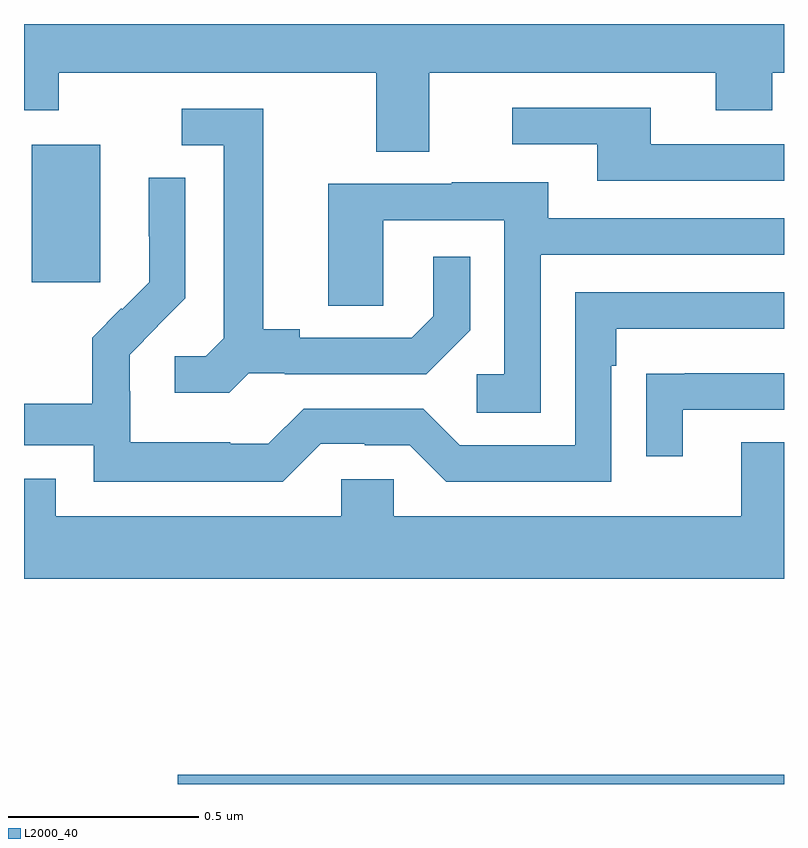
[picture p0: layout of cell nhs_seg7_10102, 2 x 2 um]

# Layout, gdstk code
import gdstk
lib = gdstk.Library(unit=1e-6, precision=1e-09)
def R(c, l, rs):  # rectangles x0, y0, x1, y1
    for r in rs: c.add(gdstk.rectangle(r[:2], r[2:], *l))
def P(c, l, *ps):  # polygons
    for p in ps: c.add(gdstk.Polygon(p, *l))
L2000_40 = (2000, 40)

nhs_seg7_10102 = lib.new_cell('nhs_seg7_10102')
R(nhs_seg7_10102, L2000_40, [(245.405,1076,247,1076.024), (245.021,1077.321,245.2,1077.682)])
P(nhs_seg7_10102, L2000_40, [(246.067,1077.872),(246.821,1077.872),(246.821,1077.773),(246.969,1077.773),(246.969,1077.872),(247,1077.872),(247,1078),(245,1078),(245,1077.773),(245.091,1077.773),(245.091,1077.872),(245.927,1077.872),(245.927,1077.664),(246.067,1077.664)],
  [(247,1077.684),(246.649,1077.684),(246.649,1077.78),(246.285,1077.78),(246.285,1077.684),(246.509,1077.684),(246.509,1077.588),(247,1077.588)],
  [(245.592,1077.081),(245.686,1077.081),(245.686,1077.078),(246.058,1077.078),(246.174,1077.194),(246.174,1077.388),(246.077,1077.388),(246.077,1077.231),(246.02,1077.174),(245.725,1077.174),(245.725,1077.197),(245.629,1077.197),(245.629,1077.777),(245.415,1077.777),(245.415,1077.681),(245.525,1077.681),(245.525,1077.173),(245.478,1077.126),(245.397,1077.126),(245.397,1077.029),(245.54,1077.029)],
  [(245.781,1076.895),(245.897,1076.895),(245.897,1076.892),(246.015,1076.892),(246.111,1076.796),(246.546,1076.796),(246.546,1077.101),(246.559,1077.101),(246.559,1077.198),(247,1077.198),(247,1077.294),(246.45,1077.294),(246.45,1076.892),(246.147,1076.892),(246.051,1076.988),(245.736,1076.988),(245.643,1076.895),(245.543,1076.895),(245.543,1076.899),(245.28,1076.899),(245.28,1077.033),(245.278,1077.033),(245.278,1077.13),(245.352,1077.204),(245.351,1077.205),(245.424,1077.278),(245.424,1077.596),(245.328,1077.596),(245.328,1077.442),(245.33,1077.442),(245.33,1077.32),(245.259,1077.249),(245.256,1077.252),(245.179,1077.175),(245.179,1077.001),(245,1077.001),(245,1076.892),(245.184,1076.892),(245.184,1076.795),(245.681,1076.795)],
  [(246.36,1077.393),(247,1077.393),(247,1077.489),(246.379,1077.489),(246.379,1077.583),(246.125,1077.583),(246.125,1077.579),(245.801,1077.579),(245.801,1077.259),(245.946,1077.259),(245.946,1077.483),(246.264,1077.483),(246.264,1077.078),(246.192,1077.078),(246.192,1076.977),(246.36,1076.977)],
  [(246.733,1076.985),(247,1076.985),(247,1077.081),(246.739,1077.081),(246.739,1077.08),(246.637,1077.08),(246.637,1076.862),(246.733,1076.862)],
  [(247,1076.899),(246.887,1076.899),(246.887,1076.704),(245.973,1076.704),(245.973,1076.802),(245.835,1076.802),(245.835,1076.704),(245.083,1076.704),(245.083,1076.803),(245,1076.803),(245,1076.54),(247,1076.54)])

lib.write_gds('nhs_seg7_10102.gds')
